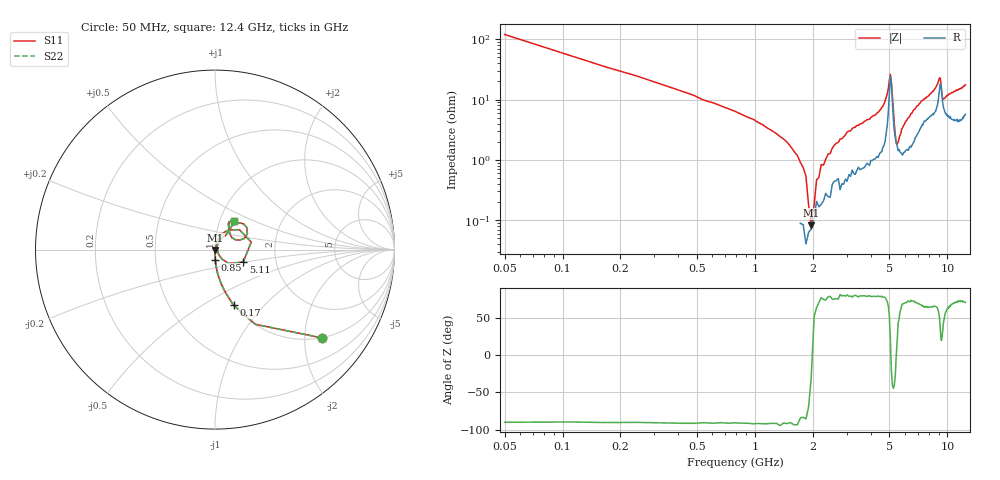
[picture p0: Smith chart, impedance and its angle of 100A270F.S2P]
!  American Technical Ceramics  Date:  3/13/98
!  One Norden Lane
!  Huntington Station,  NY.  11746-2102
!  Tel:  (516) 547-5700  Fax:  (516) 547-5748
!  Part Number  100A270F
!  Description: Porcelain, High Q, Low ESR
!  Application: Bypass, Coupling, Timing, Feedback
!  Tuning, Impedance Match, Blocking
# GHZ S DB R 50
! Freq  |S11|  S11 Ph  |S21|  S21 Ph  |S12|  S12 Ph  |S22|  S22 Ph
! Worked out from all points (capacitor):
!   201 points, 50 MHz to 12.4 GHz, reference 50 ohm
!   read as one part in series: C = 26.9 pF near 110 MHz
!   lowest |Z| = 82.6 mohm at 1.96 GHz (marker M1)
!   series resonance near 1.976 GHz, so ESL is about 240 pH
!   S11 on the Smith chart (normalised r, x): 50 MHz: 1.00, -2.42; 170 MHz: 0.99, -0.69; 850 MHz: 1.00, -0.12; 5.11 GHz: 1.36, -0.19; 12.4 GHz: 1.16, +0.39
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0.05  -2.26 -39.6  -3.85 50.5  -3.85 50.5  -2.26 -39.6
0.11  -6.50 -61.6  -1.10 28.0  -1.10 28.0  -6.50 -61.6
0.17  -9.71 -71.6  -0.46 18.9  -0.46 18.9  -9.71 -71.6
0.85  -24.70 -88.9  -0.01 3.2  -0.01 3.2  -24.70 -88.9
1.66  -37.46 -90.5  0.01 0.6  0.01 0.6  -37.46 -90.5
1.96  -51.08 -59.3  0.00 -0.1  0.00 -0.1  -51.08 -59.3
2.03  -53.20 -4.2  0.00 -0.2  0.00 -0.2  -53.20 -4.2
2.15  -47.73 57.3  -0.01 -0.4  -0.01 -0.4  -47.73 57.3
2.33  -40.22 69.6  -0.02 -0.6  -0.02 -0.6  -40.22 69.6
2.64  -34.65 74.8  -0.04 -1.1  -0.04 -1.1  -34.65 74.8
4.19  -26.08 70.8  -0.07 -3.4  -0.07 -3.4  -26.08 70.8
4.68  -22.42 69.0  -0.14 -5.1  -0.14 -5.1  -22.42 69.0
4.99  -15.12 39.3  -1.02 -9.4  -1.02 -9.4  -15.12 39.3
5.11  -15.31 -23.9  -1.61 1.9  -1.61 1.9  -15.31 -23.9
5.42  -33.70 -40.4  -0.19 -0.7  -0.19 -0.7  -33.70 -40.4
5.55  -37.54 -3.5  -0.13 -1.6  -0.13 -1.6  -37.54 -3.5
6.23  -28.83 63.4  -0.13 -3.4  -0.13 -3.4  -28.83 63.4
8.32  -17.15 54.3  -0.39 -6.0  -0.39 -6.0  -17.15 54.3
9.13  -13.33 34.8  -1.22 -7.4  -1.22 -7.4  -13.33 34.8
9.44  -18.72 34.4  -0.68 -1.7  -0.68 -1.7  -18.72 34.4
10.36  -16.37 59.8  -0.37 -4.5  -0.37 -4.5  -16.37 59.8
12.4  -14.32 57.1  -0.35 -7.8  -0.35 -7.8  -14.32 57.1
